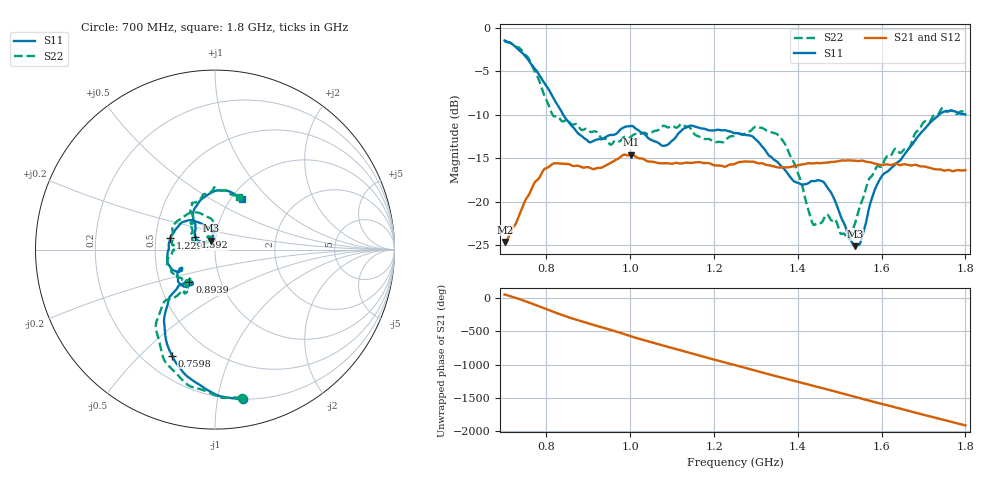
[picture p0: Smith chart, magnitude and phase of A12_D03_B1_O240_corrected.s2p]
! Created with skrf 1.9.0 (http://scikit-rf.org).
# Hz S RI R 50.0
!freq ReS11 ImS11 ReS21 ImS21 ReS12 ImS12 ReS22 ImS22
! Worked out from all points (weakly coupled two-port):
!   1601 points, 700 MHz to 1.8 GHz, reference 50 ohm
!   highest |S21| = -14.58 dB at 1.002 GHz (marker M1); lowest = -24.7 dB at 700.7 MHz (marker M2)
!   lowest |S11| = -25.1 dB at 1.537 GHz (marker M3), VSWR 1.12, Z = 47.4 + j4.76 ohm
!   |S11| at or under -10 dB: 840.1 MHz to 1.736 GHz (896.3 MHz wide, 69.6 % of centre)
!   |S22| runs from -24.3 to -1.5 dB; largest |S21 - S12| = 0.0036
!   S11 on the Smith chart (normalised r, x): 700 MHz: 0.20, -1.19; 759.8 MHz: 0.31, -0.63; 893.9 MHz: 0.71, -0.27; 1.229 GHz: 0.60, +0.08; 1.592 GHz: 0.80, +0.11; 1.8 GHz: 1.13, +0.70
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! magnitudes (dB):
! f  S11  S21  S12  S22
! 700 MHz  -1.4  -24.6  -24.4  -1.5
! 700.7 MHz  -1.4  -24.7  -24.3  -1.5
! 759.8 MHz  -3.9  -19.0  -18.9  -3.7
! 814.8 MHz  -7.9  -15.6  -15.7  -10.0
! 883.6 MHz  -12.4  -16.0  -15.9  -11.7
! 893.9 MHz  -12.8  -16.0  -16.1  -11.6
! 1.002 GHz  -11.3  -14.6  -14.7  -12.5
! 1.067 GHz  -13.2  -15.5  -15.5  -11.7
! 1.143 GHz  -11.2  -15.5  -15.5  -11.5
! 1.229 GHz  -11.8  -15.9  -15.8  -12.9
! 1.25 GHz  -12.1  -15.6  -15.6  -12.3
! 1.357 GHz  -15.7  -16.1  -16.0  -12.5
! 1.396 GHz  -17.8  -15.9  -15.9  -16.1
! 1.434 GHz  -17.6  -15.6  -15.6  -22.3
! 1.477 GHz  -18.8  -15.4  -15.5  -22.0
! 1.52 GHz  -23.8  -15.2  -15.3  -24.3
! 1.537 GHz  -25.1  -15.3  -15.3  -22.5
! 1.551 GHz  -24.5  -15.3  -15.3  -20.1
! 1.592 GHz  -17.8  -15.7  -15.7  -15.9
! 1.617 GHz  -16.4  -15.7  -15.7  -14.8
! 1.74 GHz  -9.9  -16.3  -16.3  -9.5
! 1.8 GHz  -9.9  -16.4  -16.4  -9.8
